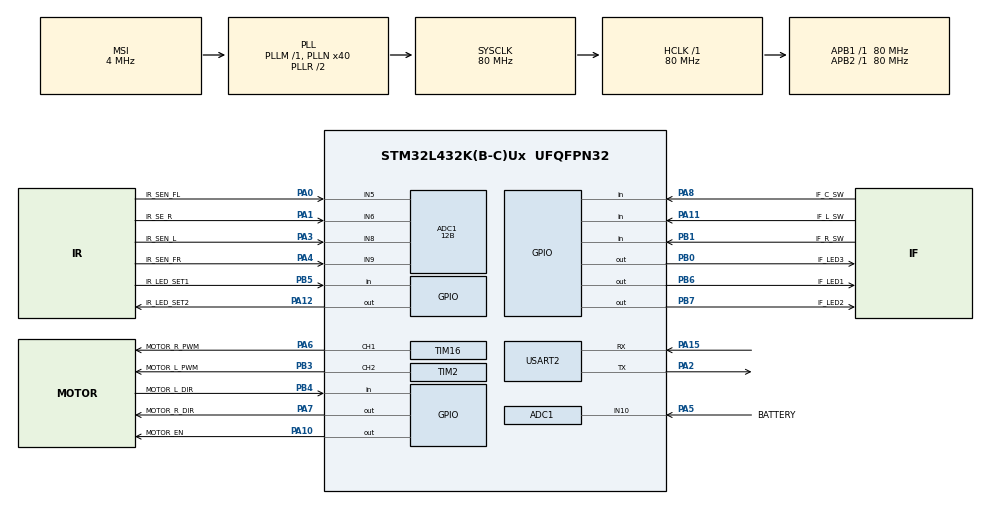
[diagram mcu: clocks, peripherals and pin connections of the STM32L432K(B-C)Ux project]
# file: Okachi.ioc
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ADC1.Channel-0\#ChannelRegularConversion=ADC_CHANNEL_5
ADC1.Channel-1\#ChannelRegularConversion=ADC_CHANNEL_6
ADC1.Channel-2\#ChannelRegularConversion=ADC_CHANNEL_10
ADC1.Channel-3\#ChannelRegularConversion=ADC_CHANNEL_8
ADC1.Channel-4\#ChannelRegularConversion=ADC_CHANNEL_9
ADC1.ClockPrescaler=ADC_CLOCK_SYNC_PCLK_DIV1
ADC1.DMAContinuousRequests=ENABLE
ADC1.EOCSelection=ADC_EOC_SEQ_CONV
ADC1.NbrOfConversion=5
ADC1.NbrOfConversionFlag=1
ADC1.OffsetNumber-0\#ChannelRegularConversion=ADC_OFFSET_NONE
ADC1.OffsetNumber-1\#ChannelRegularConversion=ADC_OFFSET_NONE
ADC1.OffsetNumber-2\#ChannelRegularConversion=ADC_OFFSET_NONE
ADC1.OffsetNumber-3\#ChannelRegularConversion=ADC_OFFSET_NONE
ADC1.OffsetNumber-4\#ChannelRegularConversion=ADC_OFFSET_NONE
ADC1.Overrun=ADC_OVR_DATA_OVERWRITTEN
ADC1.Rank-0\#ChannelRegularConversion=1
ADC1.Rank-1\#ChannelRegularConversion=2
ADC1.Rank-2\#ChannelRegularConversion=3
ADC1.Rank-3\#ChannelRegularConversion=4
ADC1.Rank-4\#ChannelRegularConversion=5
ADC1.Resolution=ADC_RESOLUTION_12B
ADC1.SamplingTime-0\#ChannelRegularConversion=ADC_SAMPLETIME_12CYCLES_5
ADC1.SamplingTime-1\#ChannelRegularConversion=ADC_SAMPLETIME_12CYCLES_5
ADC1.SamplingTime-2\#ChannelRegularConversion=ADC_SAMPLETIME_12CYCLES_5
ADC1.SamplingTime-3\#ChannelRegularConversion=ADC_SAMPLETIME_12CYCLES_5
ADC1.SamplingTime-4\#ChannelRegularConversion=ADC_SAMPLETIME_12CYCLES_5
ADC1.master=1
Dma.ADC1.0.Direction=DMA_PERIPH_TO_MEMORY
Dma.ADC1.0.Instance=DMA1_Channel1
Dma.ADC1.0.MemDataAlignment=DMA_MDATAALIGN_HALFWORD
Dma.ADC1.0.MemInc=DMA_MINC_ENABLE
Dma.ADC1.0.Mode=DMA_NORMAL
Dma.ADC1.0.PeriphDataAlignment=DMA_PDATAALIGN_HALFWORD
Dma.ADC1.0.PeriphInc=DMA_PINC_DISABLE
Dma.ADC1.0.Priority=DMA_PRIORITY_LOW
Dma.Request0=ADC1
Mcu.Family=STM32L4
Mcu.Name=STM32L432K(B-C)Ux
Mcu.Package=UFQFPN32
NVIC.DMA1_Channel1_IRQn=true\:0\:0\:false\:false\:true\:false\:true\:true
NVIC.PriorityGroup=NVIC_PRIORITYGROUP_4
NVIC.TIM1_UP_TIM16_IRQn=true\:0\:0\:false\:false\:true\:true\:true\:true
NVIC.TIM2_IRQn=true\:0\:0\:false\:false\:true\:true\:true\:true
NVIC.TIM6_DAC_IRQn=true\:0\:0\:false\:false\:true\:true\:true\:true
NVIC.TIM7_IRQn=true\:0\:0\:false\:false\:true\:true\:true\:true
PA0.GPIO_Label=IR_SEN_FL
PA0.Signal=ADCx_IN5
PA1.GPIO_Label=IR_SE_R
PA1.Signal=ADCx_IN6
PA10.GPIO_Label=MOTOR_EN
PA10.Signal=GPIO_Output
PA11.GPIO_Label=IF_L_SW
PA11.GPIO_PuPd=GPIO_PULLUP
PA11.Signal=GPIO_Input
PA12.GPIO_Label=IR_LED_SET2
PA12.GPIO_PuPd=GPIO_PULLDOWN
PA12.Signal=GPIO_Output
PA13\ (JTMS-SWDIO).Mode=Serial_Wire
PA13\ (JTMS-SWDIO).Signal=SYS_JTMS-SWDIO
PA14\ (JTCK-SWCLK).Mode=Serial_Wire
PA14\ (JTCK-SWCLK).Signal=SYS_JTCK-SWCLK
PA15\ (JTDI).Mode=Asynchronous
PA15\ (JTDI).Signal=USART2_RX
PA2.Mode=Asynchronous
PA2.Signal=USART2_TX
PA3.GPIO_Label=IR_SEN_L
PA3.Signal=ADCx_IN8
PA4.GPIO_Label=IR_SEN_FR
PA4.Signal=ADCx_IN9
PA5.GPIO_Label=BATTERY
PA5.Signal=ADCx_IN10
PA6.GPIO_Label=MOTOR_R_PWM
PA6.Signal=S_TIM16_CH1
PA7.GPIO_Label=MOTOR_R_DIR
PA7.GPIO_PuPd=GPIO_PULLDOWN
PA7.Signal=GPIO_Output
PA8.GPIO_Label=IF_C_SW
PA8.GPIO_PuPd=GPIO_PULLUP
PA8.Signal=GPIO_Input
PB0.GPIO_Label=IF_LED3
PB0.GPIO_PuPd=GPIO_PULLUP
PB0.Signal=GPIO_Output
PB1.GPIO_Label=IF_R_SW
PB1.GPIO_PuPd=GPIO_PULLUP
PB1.Signal=GPIO_Input
PB3\ (JTDO-TRACESWO).GPIO_Label=MOTOR_L_PWM
PB3\ (JTDO-TRACESWO).Signal=S_TIM2_CH2
PB4\ (NJTRST).GPIO_Label=MOTOR_L_DIR
PB4\ (NJTRST).GPIO_PuPd=GPIO_PULLDOWN
PB4\ (NJTRST).Signal=GPIO_Input
PB5.GPIO_Label=IR_LED_SET1
PB5.GPIO_PuPd=GPIO_PULLDOWN
PB5.Signal=GPIO_Input
PB6.GPIO_Label=IF_LED1
PB6.GPIO_ModeDefaultOutputPP=GPIO_MODE_OUTPUT_PP
PB6.GPIO_PuPd=GPIO_PULLUP
PB6.Signal=GPIO_Output
PB7.GPIO_Label=IF_LED2
PB7.GPIO_PuPd=GPIO_PULLUP
PB7.Signal=GPIO_Output
PC14-OSC32_IN\ (PC14).Mode=LSE-External-Oscillator
PC14-OSC32_IN\ (PC14).Signal=RCC_OSC32_IN
PC15-OSC32_OUT\ (PC15).Mode=LSE-External-Oscillator
PC15-OSC32_OUT\ (PC15).Signal=RCC_OSC32_OUT
ProjectManager.HeapSize=0x200
ProjectManager.StackSize=0x400
ProjectManager.TargetToolchain=STM32CubeIDE
RCC.ADCFreq_Value=32000000
RCC.AHBFreq_Value=80000000
RCC.APB1Freq_Value=80000000
RCC.APB1TimFreq_Value=80000000
RCC.APB2Freq_Value=80000000
RCC.APB2TimFreq_Value=80000000
RCC.CortexFreq_Value=80000000
RCC.HCLKFreq_Value=80000000
RCC.HSE_VALUE=8000000
RCC.HSI48_VALUE=48000000
RCC.HSI_VALUE=16000000
RCC.MSI_VALUE=4000000
RCC.PLLN=40
RCC.PLLSAI1N=16
RCC.SYSCLKFreq_VALUE=80000000
RCC.SYSCLKSource=RCC_SYSCLKSOURCE_PLLCLK
RCC.USBFreq_Value=32000000
RCC.VCOOutputFreq_Value=160000000
SH.ADCx_IN10.0=ADC1_IN10,IN10-Single-Ended
SH.ADCx_IN5.0=ADC1_IN5,IN5-Single-Ended
SH.ADCx_IN6.0=ADC1_IN6,IN6-Single-Ended
SH.ADCx_IN8.0=ADC1_IN8,IN8-Single-Ended
SH.ADCx_IN9.0=ADC1_IN9,IN9-Single-Ended
SH.S_TIM16_CH1.0=TIM16_CH1,PWM Generation1 CH1
SH.S_TIM2_CH2.0=TIM2_CH2,PWM Generation2 CH2
TIM16.Channel=TIM_CHANNEL_1
TIM16.Period=1000-1
TIM16.Prescaler=80-1
TIM16.Pulse=500-1
TIM2.AutoReloadPreload=TIM_AUTORELOAD_PRELOAD_ENABLE
TIM2.Channel-PWM\ Generation2\ CH2=TIM_CHANNEL_2
TIM2.OCMode_PWM-PWM\ Generation2\ CH2=TIM_OCMODE_PWM2
TIM2.Period=1000-1
TIM2.Prescaler=80-1
TIM2.Pulse-PWM\ Generation2\ CH2=500-1
TIM6.AutoReloadPreload=TIM_AUTORELOAD_PRELOAD_ENABLE
TIM6.Period=1000-1
TIM6.Prescaler=80-1
TIM7.Period=80-1
TIM7.Prescaler=0
USART2.VirtualMode-Asynchronous=VM_ASYNC
VP_TIM16_VS_ClockSourceINT.Mode=Enable_Timer
VP_TIM2_VS_ClockSourceINT.Mode=Internal
VP_TIM6_VS_ClockSourceINT.Mode=Enable_Timer
VP_TIM7_VS_ClockSourceINT.Mode=Enable_Timer
board=custom

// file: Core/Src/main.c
/* USER CODE BEGIN Header */
/**
  ******************************************************************************
  * @file           : main.c
  * @brief          : Main program body
  ******************************************************************************
  * @attention
  *
  * Copyright (c) 2024 STMicroelectronics.
  * All rights reserved.
  *
  * This software is licensed under terms that can be found in the LICENSE file
  * in the root directory of this software component.
  * If no LICENSE file comes with this software, it is provided AS-IS.
  *
  ******************************************************************************
  */
/* USER CODE END Header */
#include "main.h"
#include "adc.h"
#include "dma.h"
#include "tim.h"
#include "usart.h"
#include "gpio.h"

/* USER CODE BEGIN Includes */
#include <stdio.h>
#include "01_communication.h"

#include "41_myThread.h"
/* USER CODE END Includes */

void SystemClock_Config(void);

/* USER CODE BEGIN 0 */
/* ---------------------------------------------------------------
	printfを使用するための設定
--------------------------------------------------------------- */
#ifdef __GNUC__
#define PUTCHAR_PROTOTYPE int __io_putchar(int ch)
#else
#define PUTCHAR_PROTOTYPE int fputc(int ch, FILE *f)
#endif /* __GNUC__ */
PUTCHAR_PROTOTYPE
{
	if(ch == '\n'){
		uint8_t _ch = '\r';
		HAL_UART_Transmit(&huart2, &_ch, 1, 1);
	}
	HAL_UART_Transmit(&huart2, &ch, 1, 1);
	return 1;
}

/* ---------------------------------------------------------------
	scanfを使用するための設定
--------------------------------------------------------------- */
#ifdef __GNUC__
#define GETCHAR_PROTOTYPE int __io_getchar(void)
#else
#define GETCHAR_PROTOTYPE int fgetc(FILE *f)
#endif /* __GNUC__ */
GETCHAR_PROTOTYPE {
	return Communication_TerminalRecev();
}
/* USER CODE END 0 */

int main(void)
{

  /* MCU Configuration--------------------------------------------------------*/

  /* Reset of all peripherals, Initializes the Flash interface and the Systick. */
  HAL_Init();

  /* Configure the system clock */
  SystemClock_Config();

  /* Initialize all configured peripherals */
  MX_GPIO_Init();
  MX_DMA_Init();
  MX_ADC1_Init();
  MX_TIM2_Init();
  MX_TIM6_Init();
  MX_TIM16_Init();
  MX_TIM7_Init();
  MX_USART2_UART_Init();
  /* USER CODE BEGIN 2 */
  mySetup();
  /* USER CODE END 2 */

  /* Infinite loop */
  /* USER CODE BEGIN WHILE */
  while (1)
  {
	  myloop();
    /* USER CODE END WHILE */

  }
}

void SystemClock_Config(void)
{
  RCC_OscInitTypeDef RCC_OscInitStruct = {0};
  RCC_ClkInitTypeDef RCC_ClkInitStruct = {0};

  /** Configure the main internal regulator output voltage
  */
  if (HAL_PWREx_ControlVoltageScaling(PWR_REGULATOR_VOLTAGE_SCALE1) != HAL_OK)
  {
    Error_Handler();
  }

  /** Configure LSE Drive Capability
  */
  HAL_PWR_EnableBkUpAccess();
  __HAL_RCC_LSEDRIVE_CONFIG(RCC_LSEDRIVE_LOW);

  /** Initializes the RCC Oscillators according to the specified parameters
  * in the RCC_OscInitTypeDef structure.
  */
  RCC_OscInitStruct.OscillatorType = RCC_OSCILLATORTYPE_LSE|RCC_OSCILLATORTYPE_MSI;
  RCC_OscInitStruct.LSEState = RCC_LSE_ON;
  RCC_OscInitStruct.MSIState = RCC_MSI_ON;
  RCC_OscInitStruct.MSICalibrationValue = 0;
  RCC_OscInitStruct.MSIClockRange = RCC_MSIRANGE_6;
  RCC_OscInitStruct.PLL.PLLState = RCC_PLL_ON;
  RCC_OscInitStruct.PLL.PLLSource = RCC_PLLSOURCE_MSI;
  RCC_OscInitStruct.PLL.PLLM = 1;
  RCC_OscInitStruct.PLL.PLLN = 40;
  RCC_OscInitStruct.PLL.PLLP = RCC_PLLP_DIV7;
  RCC_OscInitStruct.PLL.PLLQ = RCC_PLLQ_DIV2;
  RCC_OscInitStruct.PLL.PLLR = RCC_PLLR_DIV2;
  if (HAL_RCC_OscConfig(&RCC_OscInitStruct) != HAL_OK)
  {
    Error_Handler();
  }

  /** Initializes the CPU, AHB and APB buses clocks
  */
  RCC_ClkInitStruct.ClockType = RCC_CLOCKTYPE_HCLK|RCC_CLOCKTYPE_SYSCLK
                              |RCC_CLOCKTYPE_PCLK1|RCC_CLOCKTYPE_PCLK2;
  RCC_ClkInitStruct.SYSCLKSource = RCC_SYSCLKSOURCE_PLLCLK;
  RCC_ClkInitStruct.AHBCLKDivider = RCC_SYSCLK_DIV1;
  RCC_ClkInitStruct.APB1CLKDivider = RCC_HCLK_DIV1;
  RCC_ClkInitStruct.APB2CLKDivider = RCC_HCLK_DIV1;

  if (HAL_RCC_ClockConfig(&RCC_ClkInitStruct, FLASH_LATENCY_4) != HAL_OK)
  {
    Error_Handler();
  }

  /** Enable MSI Auto calibration
  */
  HAL_RCCEx_EnableMSIPLLMode();
}

void Error_Handler(void)
{
  __disable_irq();
  while (1)
  {
  }
}
